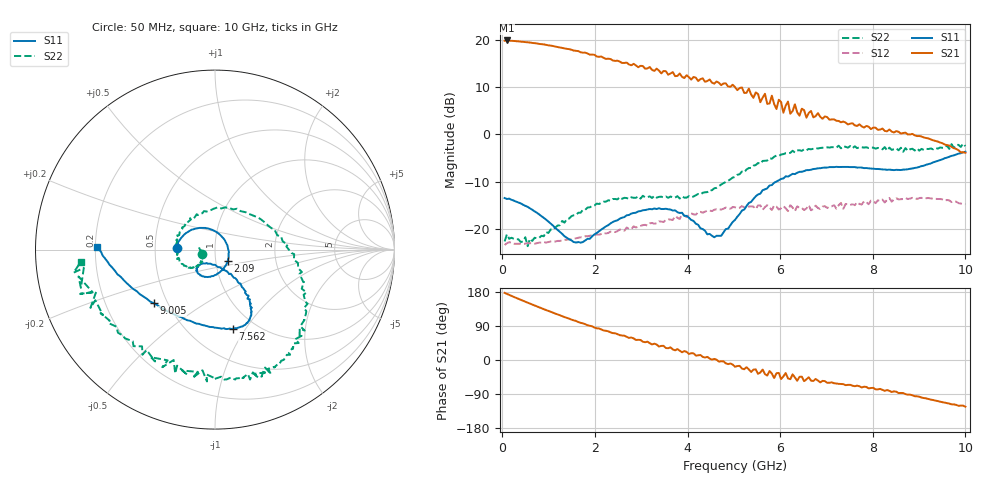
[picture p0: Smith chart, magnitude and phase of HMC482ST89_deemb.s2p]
# MHZ S MA R 50
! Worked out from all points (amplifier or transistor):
!   201 points, 50 MHz to 10 GHz, reference 50 ohm
!   highest |S21| = 19.9 dB at 99.75 MHz (marker M1)
!   |S21| within 3 dB of that: start of sweep to 1.964 GHz
!   unconditionally stable (mu >= 1): start of sweep to 5.143 GHz; 5.197 GHz to 5.288 GHz; 8.508 GHz to end of sweep (the widest 3 of 7)
!   at 1.692 GHz: K = 1.11, MAG = 17.5 dB, |S12| = -21.7 dB
!   at 5.025 GHz: K = 1.03, MAG = 11.7 dB, |S12| = -15.4 dB
!   at 10 GHz: K = 1.58, MAG = 1.0 dB, |S12| = -14.8 dB
!   S11 on the Smith chart (normalised r, x): 50 MHz: 0.65, +0.01; 2.09 GHz: 1.14, -0.15; 7.562 GHz: 0.79, -0.88; 9.005 GHz: 0.42, -0.32; 10 GHz: 0.21, +0.01
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50  0.213 177.9  9.795 177.1  0.068 -1.9  0.074 -160.3
99.75  0.208 172.4  9.854 174.4  0.071 1.5  0.088 174.6
547.5  0.172 140.2  9.44 151.4  0.071 5.3  0.066 -163.0
895.75  0.132 113.9  8.961 134.3  0.073 8.9  0.084 -145.3
1293.75  0.089 73.4  8.255 115.6  0.076 12.7  0.122 -136.5
1741.5  0.073 3.2  7.316 96.7  0.082 15.9  0.16 -140.7
2089.75  0.095 -41.9  6.625 83.2  0.087 16.8  0.184 -149.2
2537.5  0.129 -78.1  5.88 65.5  0.099 18.4  0.218 -166.1
3383.25  0.166 -119.4  4.735 35.5  0.121 18.7  0.219 154.0
4477.75  0.089 -117.7  3.81 3.9  0.157 7.0  0.259 61.7
5025  0.125 -66.2  3.172 -17.8  0.17 -1.6  0.356 13.0
5522.5  0.232 -54.2  2.677 -36.5  0.178 -5.3  0.5 -14.5
5622  0.258 -54.3  2.451 -25.3  0.16 -10.6  0.525 -20.3
5671.75  0.263 -53.8  2.693 -37.2  0.171 -7.4  0.527 -19.9
5920.5  0.318 -53.9  1.858 -35.0  0.173 -16.7  0.598 -30.3
6020  0.339 -54.9  2.205 -50.3  0.166 -9.4  0.614 -34.0
6069.75  0.343 -55.9  1.698 -43.4  0.175 -14.4  0.62 -35.2
6716.5  0.431 -63.2  1.516 -55.5  0.163 -15.9  0.707 -54.4
7562.25  0.452 -77.1  1.314 -67.9  0.183 -23.4  0.716 -72.9
8358.25  0.425 -104.1  1.129 -81.3  0.213 -36.6  0.726 -99.9
9005  0.454 -139.0  0.963 -96.8  0.213 -46.9  0.675 -127.0
10000  0.657 178.5  0.641 -123.3  0.183 -70.8  0.752 -174.7
